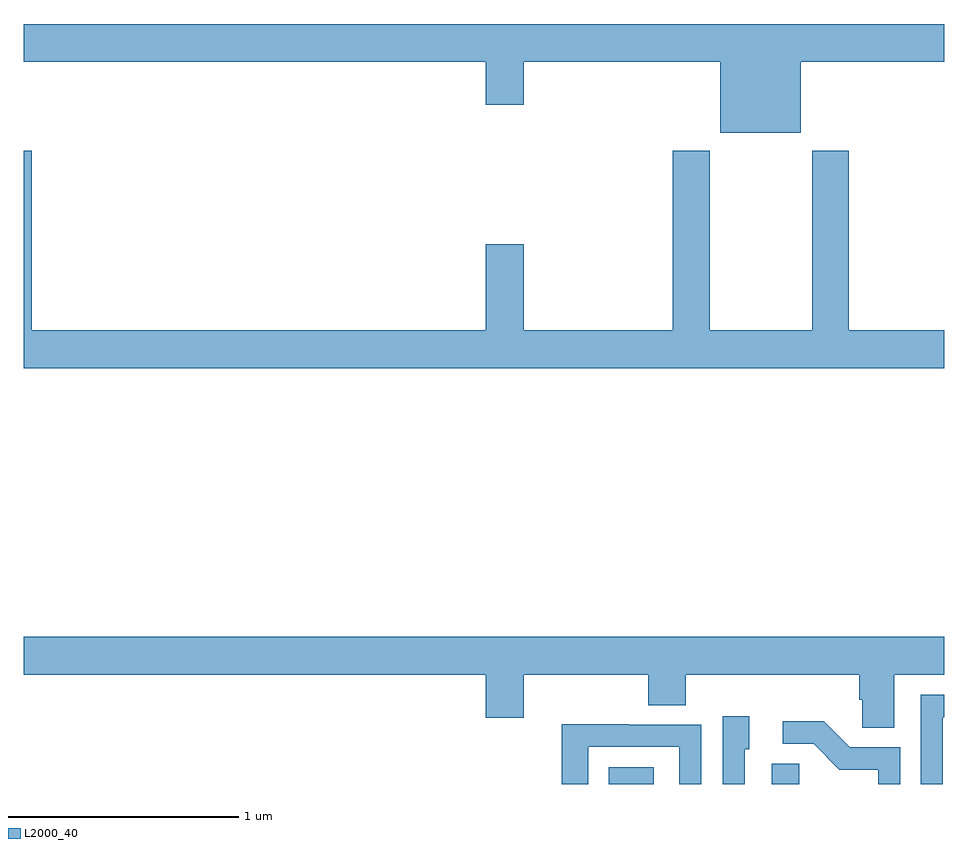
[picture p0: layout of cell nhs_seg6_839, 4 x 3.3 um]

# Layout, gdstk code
import gdstk
lib = gdstk.Library(unit=1e-6, precision=1e-09)
def R(c, l, rs):  # rectangles x0, y0, x1, y1
    for r in rs: c.add(gdstk.rectangle(r[:2], r[2:], *l))
def P(c, l, *ps):  # polygons
    for p in ps: c.add(gdstk.Polygon(p, *l))
L2000_40 = (2000, 40)

nhs_seg6_839 = lib.new_cell('nhs_seg6_839')
R(nhs_seg6_839, L2000_40, [(165.542,973.5,165.739,973.573), (166.25,973.5,166.371,973.589)])
P(nhs_seg6_839, L2000_40, [(166.378,976.64),(167,976.64),(167,976.804),(163,976.804),(163,976.64),(165.008,976.64),(165.008,976.452),(165.172,976.452),(165.172,976.64),(166.028,976.64),(166.028,976.331),(166.378,976.331)],
  [(167,975.472),(166.586,975.472),(166.586,976.252),(166.426,976.252),(166.426,975.472),(165.981,975.472),(165.981,976.252),(165.821,976.252),(165.821,975.472),(165.172,975.472),(165.172,975.847),(165.008,975.847),(165.008,975.472),(163.034,975.472),(163.034,976.252),(163,976.252),(163,975.308),(167,975.308)],
  [(166.783,973.976),(167,973.976),(167,974.14),(163,974.14),(163,973.976),(165.008,973.976),(165.008,973.788),(165.172,973.788),(165.172,973.976),(165.713,973.976),(165.713,973.843),(165.878,973.843),(165.878,973.976),(166.631,973.976),(166.631,973.867),(166.644,973.867),(166.644,973.744),(166.783,973.744)],
  [(166.995,973.791),(167,973.791),(167,973.887),(166.899,973.887),(166.899,973.5),(166.995,973.5)],
  [(166.134,973.65),(166.153,973.65),(166.153,973.795),(166.038,973.795),(166.038,973.5),(166.134,973.5)],
  [(166.809,973.659),(166.59,973.659),(166.477,973.772),(166.299,973.772),(166.299,973.674),(166.433,973.674),(166.544,973.563),(166.713,973.563),(166.713,973.5),(166.809,973.5)],
  [(165.453,973.662),(165.849,973.662),(165.849,973.5),(165.945,973.5),(165.945,973.758),(165.629,973.758),(165.629,973.76),(165.337,973.76),(165.337,973.5),(165.453,973.5)])

lib.write_gds('nhs_seg6_839.gds')
